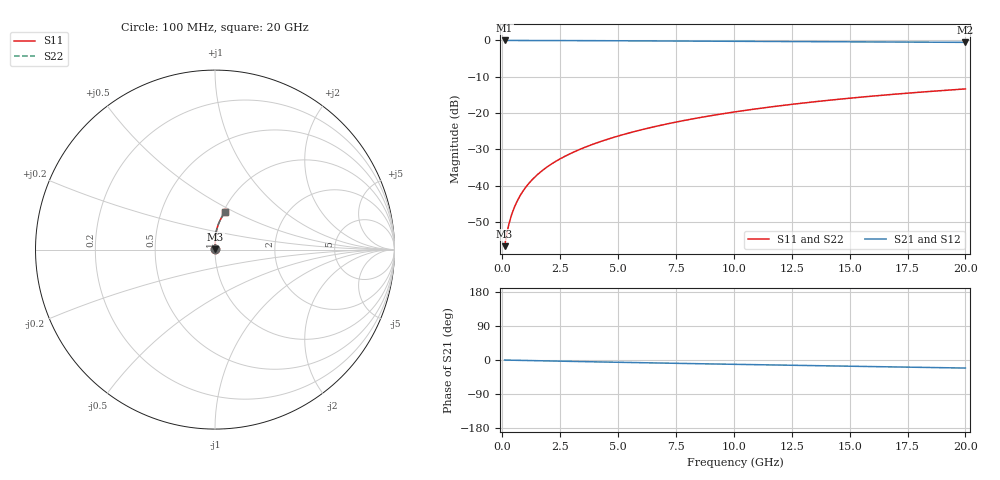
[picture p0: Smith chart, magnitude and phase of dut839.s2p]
! Touchstone file exported from HFSS 2024.1.0
!  File:  C:/UserFiles/LocalFiles/RDL_TSV_Batchsim/temp_RDL_top_839_1779855234.aedt
!  Generated:  12:16:05 PM May 27, 2026
!  Design:  RDL_top
!  Project:  temp_RDL_top_839_1779855234
!  Setup:  Setup1
!  Solution:  Sweep
! Variables:
!  dtsv = 10.80580581um
!  hbump = 3um
!  htsv = 70.73um
!  ldown = 100um
!  lrdl = 284.53um
!  p = 40
!  p1 = 50.35um
!  rhole = 1um
!  t = 450um
!  tdown = 3.915915916um
!  trdl = 4.87um
!  wdown = 15.38538539um
!  wrdl = 22.75um
# GHz S MA R 50.000000
! Terminal data exported
! Port[1] = Box2_T1
! Port[2] = Box2_T2
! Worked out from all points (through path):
!   200 points, 100 MHz to 20 GHz, reference 50 ohm
!   highest |S21| = -0.01 dB at 100 MHz (marker M1); lowest = -0.5 dB at 20 GHz (marker M2)
!   group delay of S21, straight-line fit = 2.91 ps
!   lowest |S11| = -56.6 dB at 100 MHz (marker M3), VSWR 1.00, Z = 50.1 + j0.102 ohm
!   |S11| at or under -10 dB: start of sweep to end of sweep
!   |S22| runs from -56.6 to -13.3 dB; largest |S21 - S12| = 4.1e-15
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0.1  0.001479 43.5  0.9989 -0.1  0.9989 -0.1  0.001479 43.5
! Gamma 0 0 0 0
! Port Impedance 50 0 50 0
0.2  0.002261 59.9  0.9988 -0.3  0.9988 -0.3  0.002261 59.9
0.3  0.003102 68.0  0.9988 -0.4  0.9988 -0.4  0.003102 68.0
0.4  0.003974 72.8  0.9987 -0.5  0.9987 -0.5  0.003974 72.8
0.5  0.004866 75.9  0.9986 -0.6  0.9986 -0.6  0.004866 75.9
0.6  0.00577 78.1  0.9985 -0.8  0.9985 -0.8  0.00577 78.1
0.8  0.007598 81.0  0.9984 -1.0  0.9984 -1.0  0.007598 81.0
1.1  0.01037 83.5  0.9981 -1.4  0.9981 -1.4  0.01037 83.5
1.5  0.0141 85.3  0.9976 -1.9  0.9976 -1.9  0.0141 85.3
1.8  0.01691 86.2  0.9972 -2.2  0.9972 -2.2  0.01691 86.2
2.1  0.01973 86.8  0.9967 -2.6  0.9967 -2.6  0.01974 86.8
2.7  0.02545 87.7  0.9955 -3.3  0.9955 -3.3  0.02545 87.7
3.5  0.03322 88.4  0.9935 -4.3  0.9935 -4.3  0.03322 88.4
4.2  0.0402 88.7  0.9916 -5.1  0.9916 -5.1  0.0402 88.7
5  0.04838 88.9  0.9893 -6.0  0.9893 -6.0  0.04838 88.9
6.8  0.06758 88.5  0.9835 -8.0  0.9835 -8.0  0.06758 88.5
8.4  0.08533 87.4  0.9782 -9.7  0.9782 -9.7  0.08534 87.4
10.1  0.1046 85.9  0.9727 -11.5  0.9727 -11.5  0.1046 86.0
11.7  0.1229 84.3  0.9675 -13.1  0.9675 -13.1  0.1229 84.3
13.4  0.1423 82.5  0.9621 -14.8  0.9621 -14.8  0.1423 82.5
16.7  0.1794 78.7  0.9515 -18.1  0.9515 -18.1  0.1794 78.8
20  0.2152 75.0  0.9408 -21.2  0.9408 -21.2  0.2152 75.0
